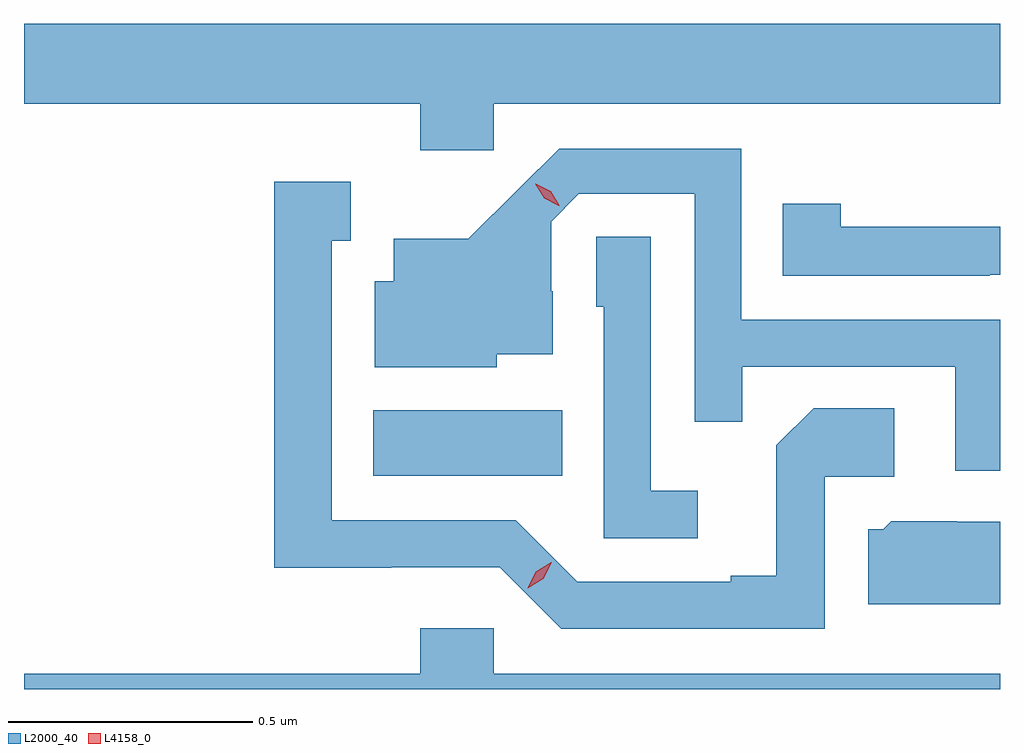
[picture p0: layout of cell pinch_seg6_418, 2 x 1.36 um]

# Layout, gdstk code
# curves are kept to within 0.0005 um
import gdstk
lib = gdstk.Library(unit=1e-6, precision=1e-09)
def R(c, l, rs):  # rectangles x0, y0, x1, y1
    for r in rs: c.add(gdstk.rectangle(r[:2], r[2:], *l))
def P(c, l, *ps):  # polygons
    for p in ps: c.add(gdstk.Polygon(p, *l))
L2000_40 = (2000, 40)
L4158_0 = (4158, 0)

pinch_seg6_418 = lib.new_cell('pinch_seg6_418')
R(pinch_seg6_418, L2000_40, [(664.841,915.938,665.228,916.072)])
P(pinch_seg6_418, L2000_40, [(665.088,916.7),(666.125,916.7),(666.125,916.864),(664.125,916.864),(664.125,916.7),(664.937,916.7),(664.937,916.605),(665.088,916.605)],
  [(666.125,916.257),(665.595,916.257),(665.595,916.608),(665.222,916.608),(665.035,916.423),(664.883,916.423),(664.883,916.336),(664.844,916.336),(664.844,916.16),(665.094,916.16),(665.094,916.187),(665.209,916.187),(665.209,916.316),(665.205,916.316),(665.205,916.458),(665.262,916.515),(665.499,916.515),(665.499,916.048),(665.597,916.048),(665.597,916.161),(666.033,916.161),(666.033,915.948),(666.125,915.948)],
  [(665.766,915.936),(665.908,915.936),(665.908,916.076),(665.743,916.076),(665.667,916),(665.667,915.733),(665.573,915.733),(665.573,915.72),(665.259,915.72),(665.133,915.846),(664.756,915.846),(664.756,916.419),(664.795,916.419),(664.795,916.54),(664.638,916.54),(664.638,915.749),(664.878,915.749),(664.878,915.75),(665.1,915.75),(665.226,915.624),(665.766,915.624)],
  [(666.104,916.35),(666.125,916.35),(666.125,916.448),(665.799,916.448),(665.799,916.495),(665.68,916.495),(665.68,916.347),(666.104,916.347)],
  [(665.506,915.907),(665.409,915.907),(665.409,916.427),(665.298,916.427),(665.298,916.284),(665.313,916.284),(665.313,915.81),(665.506,915.81)],
  [(666.125,915.843),(666.036,915.843),(666.036,915.844),(665.902,915.844),(665.886,915.828),(665.855,915.828),(665.855,915.674),(666.125,915.674)],
  [(666.125,915.532),(665.088,915.532),(665.088,915.625),(664.937,915.625),(664.937,915.532),(664.125,915.532),(664.125,915.5),(666.125,915.5)])
P(pinch_seg6_418, L4158_0, [(665.221,916.491),(665.191,916.506),(665.173,916.536),(665.173,916.536),(665.174,916.536),(665.204,916.521),(665.222,916.492),(665.222,916.491)],
  [(665.157,915.707),(665.157,915.708),(665.174,915.741),(665.205,915.76),(665.206,915.76),(665.206,915.76),(665.189,915.727),(665.157,915.707)])

lib.write_gds('pinch_seg6_418.gds')
